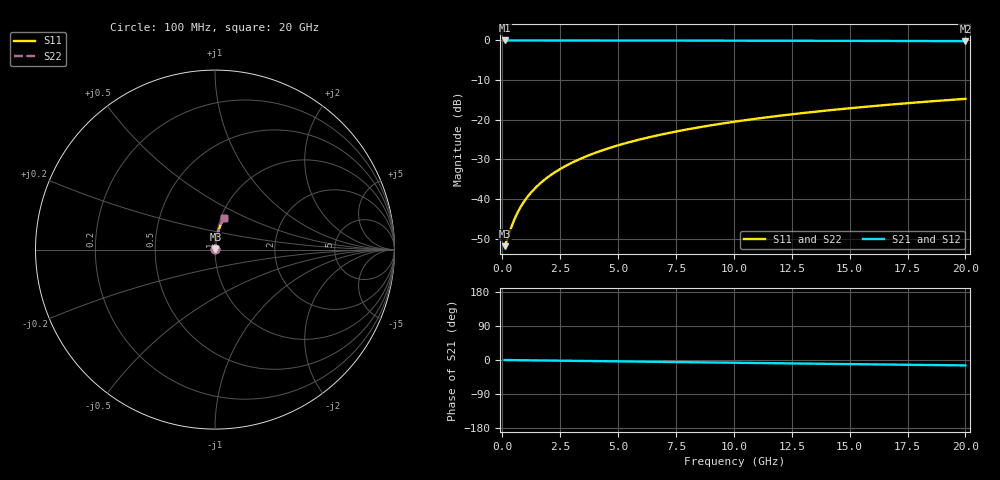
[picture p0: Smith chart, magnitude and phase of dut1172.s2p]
! Touchstone file exported from HFSS 2026.1.0
!  File:  C:/ffzhzh/LocalFiles/Ansys_Project_Files/temp_train_TSV_1172_1783192019_22436.aedt
!  Generated:  03:10:20 AM Jul  5, 2026
!  Design:  TSV
!  Project:  temp_train_TSV_1172_1783192019_22436
! Variables:
!  h_bsmrdl = 2um
!  h_ox = 20um
!  h_rdl = 5um
!  h_sub = 92.48um
!  h_tmrdl = 5um
!  h_tsv = 92.48um
!  h_via = 3um
!  l_bsmrdl = 300um
!  l_sub = 404.22um
!  l_tmrdl = 200um
!  m_sub = 200um
!  pitch = 53.12um
!  r_tsv = 2.11um
!  s_tmrdl = 10um
!  w_bsmrdl = 18um
!  w_sub = 500um
!  w_tmrdl = 12um
!  x_tsv_center1 = 206um
!  x_tsv_center2 = 524um
!  x_tsv_center3 = 736um
!  x_tsv_center4 = 1054um
!  x_tsv_center5 = 1266um
!  x_tsv_center6 = 1584um
# GHz S MA R 50.000000
! Terminal data exported
! Port[1] = TSV1_1_T1
! Port[2] = TSV1_1_T2
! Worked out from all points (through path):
!   200 points, 100 MHz to 20 GHz, reference 50 ohm
!   highest |S21| = -0.02 dB at 100 MHz (marker M1); lowest = -0.2 dB at 20 GHz (marker M2)
!   group delay of S21, straight-line fit = 1.99 ps
!   lowest |S11| = -51.9 dB at 100 MHz (marker M3), VSWR 1.01, Z = 50.2 + j0.0962 ohm
!   |S11| at or under -10 dB: start of sweep to end of sweep
!   |S22| runs from -51.9 to -14.7 dB; largest |S21 - S12| = 4e-15
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0.1  0.002556 22.0  0.9976 -0.1  0.9976 -0.1  0.002556 22.0
! Gamma 0 0 0 0
! Port Impedance 50 0 50 0
0.2  0.003051 38.9  0.9976 -0.1  0.9976 -0.1  0.003051 38.9
0.4  0.004515 57.9  0.9976 -0.3  0.9976 -0.3  0.004515 57.9
0.5  0.005354 63.2  0.9976 -0.4  0.9976 -0.4  0.005354 63.2
0.7  0.007118 69.8  0.9976 -0.5  0.9976 -0.5  0.007118 69.8
0.8  0.008025 72.0  0.9976 -0.6  0.9976 -0.6  0.008025 72.0
1  0.009862 75.1  0.9975 -0.7  0.9975 -0.7  0.009862 75.1
1.3  0.01265 78.0  0.9975 -1.0  0.9975 -1.0  0.01265 78.0
1.7  0.01641 80.2  0.9974 -1.2  0.9974 -1.2  0.01641 80.2
2.2  0.02113 81.6  0.9973 -1.6  0.9973 -1.6  0.02113 81.6
2.8  0.0268 82.6  0.9971 -2.1  0.9971 -2.1  0.0268 82.6
3.5  0.03343 83.0  0.9969 -2.6  0.9969 -2.6  0.03343 83.0
4.2  0.04005 83.1  0.9966 -3.1  0.9966 -3.1  0.04005 83.1
5  0.0476 83.1  0.9961 -3.7  0.9961 -3.7  0.0476 83.1
5.9  0.05608 82.8  0.9956 -4.3  0.9956 -4.3  0.05608 82.8
6.8  0.06452 82.4  0.995 -5.0  0.995 -5.0  0.06452 82.4
8.3  0.07852 81.6  0.9937 -6.0  0.9937 -6.0  0.07852 81.6
10.1  0.09518 80.6  0.992 -7.3  0.992 -7.3  0.09518 80.6
11.7  0.1098 79.6  0.9902 -8.5  0.9902 -8.5  0.1098 79.6
13.4  0.1253 78.5  0.9881 -9.7  0.9881 -9.7  0.1253 78.5
16.7  0.1547 76.3  0.9834 -12.0  0.9834 -12.0  0.1547 76.3
20  0.1835 74.1  0.978 -14.3  0.978 -14.3  0.1835 74.1
